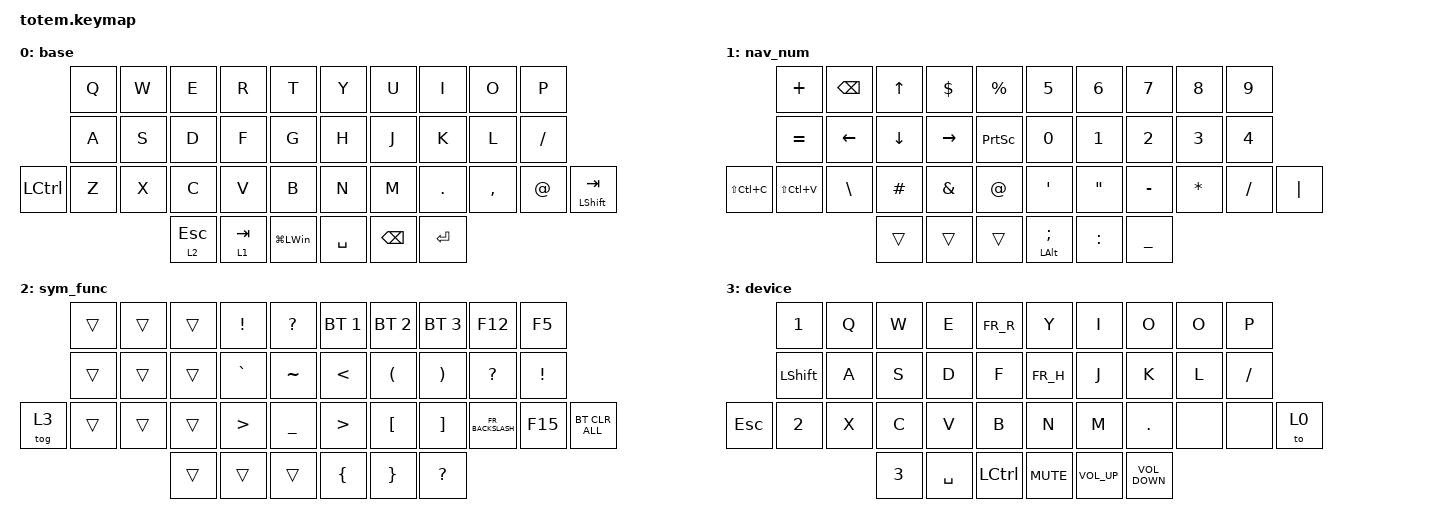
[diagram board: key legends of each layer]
//
//                                                        ▀▀▀▀▀     ▀▀▀▀▀          ▀▀█▀▀
//                                                        ▄▀▀▀▄  ▄  ▄▀▀▀▄  ▄  ▄▀▀▀▄  █  ▄▀▀▀▄
//                                                        █   █  █  █   █  █  █   █  █  █   █
//                                                         ▀▀▀   █   ▀▀▀   █   ▀▀▀   ▀   ▀▀▀
//                                                               █      ▄▄▄█▄▄▄    █   █  
//                                                               ▀      █  █  █     █▄█
//                                                             ▀▀▀▀▀    █  █  █      ▀
//                                                                      ▀  ▀  ▀
//
// ▄▄▄▄▄▄▄▄▄▄▄▄▄▄▄▄▄▄▄▄▄▄▄▄▄▄▄▄▄▄▄▄▄▄▄▄▄▄▄▄▄▄▄▄▄▄▄▄▄▄▄▄▄▄▄▄▄▄▄▄▄▄▄▄▄▄▄▄▄▄▄▄▄▄▄▄▄▄▄▄▄▄▄▄▄▄▄▄▄▄▄▄▄▄▄▄▄▄▄▄▄▄▄▄▄▄▄▄▄▄▄▄▄▄▄▄▄▄▄▄▄▄▄▄▄▄▄▄▄▄▄▄▄▄▄▄▄▄▄▄▄▄▄▄▄▄▄▄▄

#include <behaviors.dtsi>
#include <dt-bindings/zmk/bt.h>
#include <dt-bindings/zmk/keys.h>
#include "keys_fr.h"

/ {
    macros {
        accent_fr: accent_fr {
            compatible = "zmk,behavior-macro";
            #binding-cells = <0>;
            bindings = <&none>;
            label = "ACCENT_FR";
        };

        accent_1: new_macro {
            compatible = "zmk,behavior-macro";
            #binding-cells = <0>;
            bindings = <&kp LS(U) &kp PLUS &kp N0 &kp N0 &kp LS(E) &kp N9>;
            label = "NEW_MACRO";
        };
    };

    keymap {
        compatible = "zmk,keymap";

        base {
            bindings = <
                  &kp Q  &kp W  &kp E         &kp R      &kp T               &kp Y      &kp U          &kp I       &kp O      &kp P
                  &kp A  &kp S  &kp D         &kp F      &kp G               &kp H      &kp J          &kp K       &kp L      &kp SLASH
&kp LEFT_CONTROL  &kp Z  &kp X  &kp C         &kp V      &kp B               &kp N      &kp M          &kp PERIOD  &kp COMMA  &kp AT     &mt LEFT_SHIFT TAB
                                &lt 2 ESCAPE  &lt 1 TAB  &kp LG(LEFT_WIN)    &kp SPACE  &kp BACKSPACE  &kp ENTER
            >;
        };

        nav_num {
            bindings = <
               &kp PLUS       &kp BACKSPACE  &kp UP    &kp DOLLAR     &kp PRCNT          &kp N5                  &kp N6             &kp N7          &kp N8    &kp N9
               &kp EQUAL      &kp LEFT       &kp DOWN  &kp RIGHT      &kp PRINTSCREEN    &kp N0                  &kp N1             &kp N2          &kp N3    &kp N4
&kp LS(LC(C))  &kp LS(LC(V))  &kp BACKSLASH  &kp HASH  &kp AMPERSAND  &kp AT             &kp SQT                 &kp DOUBLE_QUOTES  &kp MINUS       &kp STAR  &kp FSLH  &kp PIPE
                                             &trans    &trans         &trans             &mt LEFT_ALT SEMICOLON  &kp COLON          &kp UNDERSCORE
            >;
        };

        sym_func {
            bindings = <
        &trans  &trans  &trans  &kp EXCLAMATION   &kp QUESTION      &bt BT_SEL 1      &bt BT_SEL 2          &bt BT_SEL 3           &kp F12           &kp F5
        &trans  &trans  &trans  &kp GRAVE         &kp TILDE         &kp LESS_THAN     &kp LEFT_PARENTHESIS  &kp RIGHT_PARENTHESIS  &kp QUESTION      &kp EXCLAMATION
&tog 3  &trans  &trans  &trans  &kp GREATER_THAN  &kp UNDERSCORE    &kp GREATER_THAN  &kp LEFT_BRACKET      &kp RIGHT_BRACKET      &kp FR_BACKSLASH  &kp F15          &bt BT_CLR_ALL
                        &trans  &trans            &trans            &kp LEFT_BRACE    &kp RIGHT_BRACE       &kp QUESTION
            >;
        };

        device {
            bindings = <
         &kp N1          &kp Q  &kp W         &kp E      &kp FR_R            &kp Y       &kp I            &kp O              &kp O  &kp P
         &kp LEFT_SHIFT  &kp A  &kp S         &kp D      &kp F               &kp FR_H    &kp J            &kp K              &kp L  &kp FSLH
&kp ESC  &kp N2          &kp X  &kp C         &kp V      &kp B               &kp N       &kp M            &kp DOT            &none  &none     &to 0
                                &kp NUMBER_3  &kp SPACE  &kp LEFT_CONTROL    &kp K_MUTE  &kp C_VOLUME_UP  &kp C_VOLUME_DOWN
            >;
        };
    };

    conditional_layers {
        compatible = "zmk,conditional-layers";

        device {
            if-layers = <1 2>;
            then-layer = <3>;
        };
    };
};
